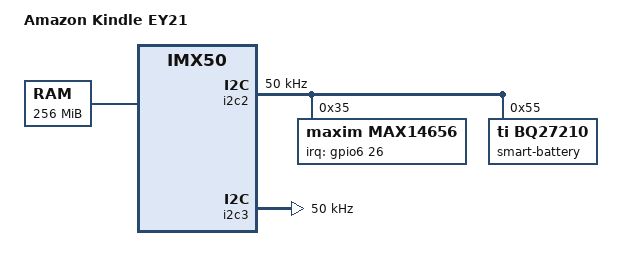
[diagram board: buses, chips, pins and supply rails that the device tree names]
/*
 * Copyright 2017 Alexander Kurz <akurz@blala.de>
 *
 * The code contained herein is licensed under the GNU General Public
 * License. You may obtain a copy of the GNU General Public License
 * Version 2 or later at the following locations:
 *
 * http://www.opensource.org/licenses/gpl-license.html
 * http://www.gnu.org/copyleft/gpl.html
 */

/dts-v1/;
#include "imx50-kindle-common.dtsi"
#include <dt-bindings/interrupt-controller/irq.h>
#include <dt-bindings/gpio/gpio.h>
#include <dt-bindings/input/input.h>

/ {
	model = "Amazon Kindle EY21";
	compatible = "amazon,kindle-ey21", "fsl,imx50";

	chosen {
		stdout-path = &uart1;
	};

	memory@70000000 {
		device_type = "memory";
		reg = <0x70000000 0x10000000>;
	};
};

&iomuxc {
	imx50-kindle-ey21 {
		pinctrl-names = "default";
		pinctrl-0 = <&pinctrl_hog>;

		pinctrl_hog: hoggrp {
			fsl,pins = <
				MX50_PAD_SD2_WP__GPIO5_16	0xe4 /* hall */
			>;
		};
	};
};

&i2c2 {
	clock-frequency = <50000>;
	pinctrl-names = "default";
	pinctrl-0 = <&pinctrl_i2c2>;
	status = "okay";

	max14656@35 {
		compatible = "maxim,max14656";
		reg = <0x35>;
		pinctrl-names = "default";
		pinctrl-0 = <&pinctrl_charger_detect>;
		interrupt-parent = <&gpio6>;
		interrupts = <26 IRQ_TYPE_LEVEL_HIGH>;
	};

	smart-battery@55 {
		compatible = "ti,bq27210";
		reg = <0x55>;
		ti,i2c-retry-count = <2>;
		ti,poll-retry-count = <10>;
	};
};

&i2c3 {
	clock-frequency = <50000>;
	pinctrl-names = "default";
	pinctrl-0 = <&pinctrl_i2c3>;
	status = "okay";
};
